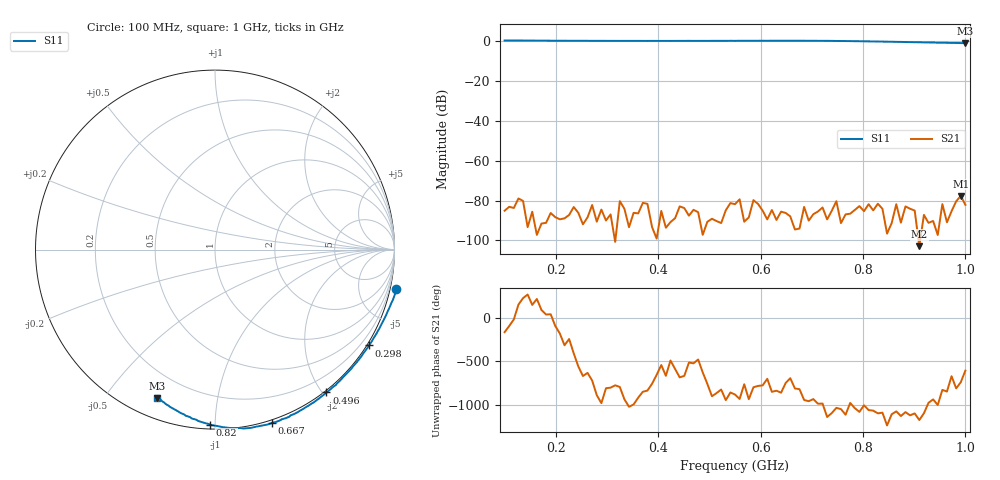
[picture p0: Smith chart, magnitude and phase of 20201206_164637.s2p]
# HZ S RI R 50
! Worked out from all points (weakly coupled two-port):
!   101 points, 100 MHz to 1 GHz, reference 50 ohm
!   highest |S21| = -77.65 dB at 991 MHz (marker M1); lowest = -102.9 dB at 910 MHz (marker M2)
!   lowest |S11| = -1.0 dB at 1 GHz (marker M3), VSWR 16.61, Z = 4.41 - j34 ohm
!   |S11| at or under -10 dB: nowhere
!   S12 and S22 are empty: the file has one direction only
!   S11 on the Smith chart (normalised r, x): 100 MHz: -1.34, -9.08; 298 MHz: -0.07, -3.50; 496 MHz: -0.02, -2.05; 667 MHz: -0.02, -1.38; 820 MHz: 0.02, -0.97; 1 GHz: 0.09, -0.68
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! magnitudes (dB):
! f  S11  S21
! 100 MHz  0.3  -85.1
! 118 MHz  0.3  -83.7
! 127 MHz  0.3  -79.0
! 136 MHz  0.3  -80.2
! 253 MHz  0.1  -91.9
! 298 MHz  0.1  -90.0
! 406 MHz  0.1  -85.2
! 496 MHz  0.1  -90.6
! 550 MHz  0.1  -81.8
! 559 MHz  0.1  -79.4
! 568 MHz  0.1  -90.6
! 577 MHz  0.1  -88.4
! 586 MHz  0.1  -79.8
! 595 MHz  0.1  -81.7
! 667 MHz  0.1  -94.5
! 703 MHz  0.1  -86.8
! 820 MHz  -0.2  -84.9
! 856 MHz  -0.4  -91.3
! 910 MHz  -0.6  -102.9
! 982 MHz  -1.0  -80.4
! 991 MHz  -1.0  -77.7
! 1 GHz  -1.0  -82.2
